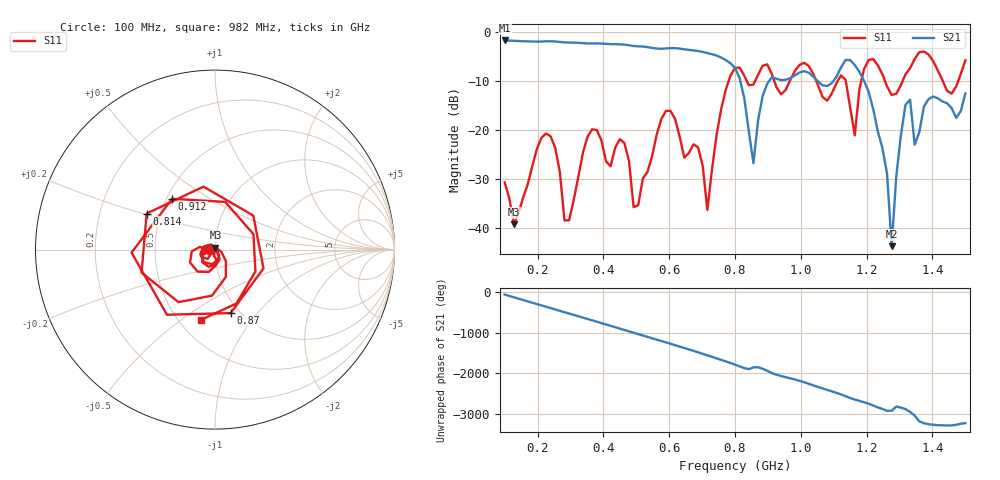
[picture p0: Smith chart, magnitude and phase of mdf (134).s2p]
! NanoVNA-App
! Date: 2025-09-26 09:40:46
! Start: 100MHz Stop: 1,5GHz Points: 101
! S-Parameter data: F S11 S21 S12 S22
# Hz S RI R 50
!  Frequency  S11_Real  S11_Imag  S21_Real  S21_Imag  S12_Real  S12_Imag  S22_Real  S22_Imag
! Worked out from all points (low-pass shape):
!   101 points, 100 MHz to 1.5 GHz, reference 50 ohm
!   highest |S21| = -1.79 dB at 100 MHz (marker M1); lowest = -43.6 dB at 1.276 GHz (marker M2)
!   |S21| within 3 dB of the highest: start of sweep to 740.5 MHz
!   lowest |S11| = -39.2 dB at 128 MHz (marker M3), VSWR 1.02, Z = 50.3 + j1.07 ohm
!   |S11| at or under -10 dB: start of sweep to 780.9 MHz; 1.047 GHz to 1.112 GHz (65.64 MHz wide, 6.08 % of centre); 1.256 GHz to 1.31 GHz (53.95 MHz wide, 4.21 % of centre)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
!   S12 and S22 are empty: the file has one direction only
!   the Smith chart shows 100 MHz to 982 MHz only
!   S11 on the Smith chart (normalised r, x): 100 MHz: 0.94, -0.01; 814 MHz: 0.42, +0.21; 870 MHz: 0.90, -0.74; 912 MHz: 0.53, +0.35; 982 MHz: 0.64, -0.60
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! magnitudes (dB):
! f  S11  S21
! 100 MHz  -30.6  -1.8
! 128 MHz  -39.2  -1.9
! 212 MHz  -21.6  -2.0
! 282 MHz  -38.4  -2.2
! 338 MHz  -24.6  -2.3
! 464 MHz  -22.6  -2.6
! 492 MHz  -35.7  -2.9
! 576 MHz  -17.8  -3.5
! 716 MHz  -36.3  -4.4
! 800 MHz  -7.4  -7.4
! 814 MHz  -7.3  -9.5
! 856 MHz  -10.8  -26.7
! 870 MHz  -8.8  -18.1
! 912 MHz  -8.6  -9.2
! 982 MHz  -8.0  -8.9
! 1.038 GHz  -8.6  -9.2
! 1.164 GHz  -21.1  -6.8
! 1.192 GHz  -7.6  -10.0
! 1.262 GHz  -11.1  -28.9
! 1.276 GHz  -12.9  -43.6
! 1.318 GHz  -8.7  -14.9
! 1.5 GHz  -5.8  -12.6
